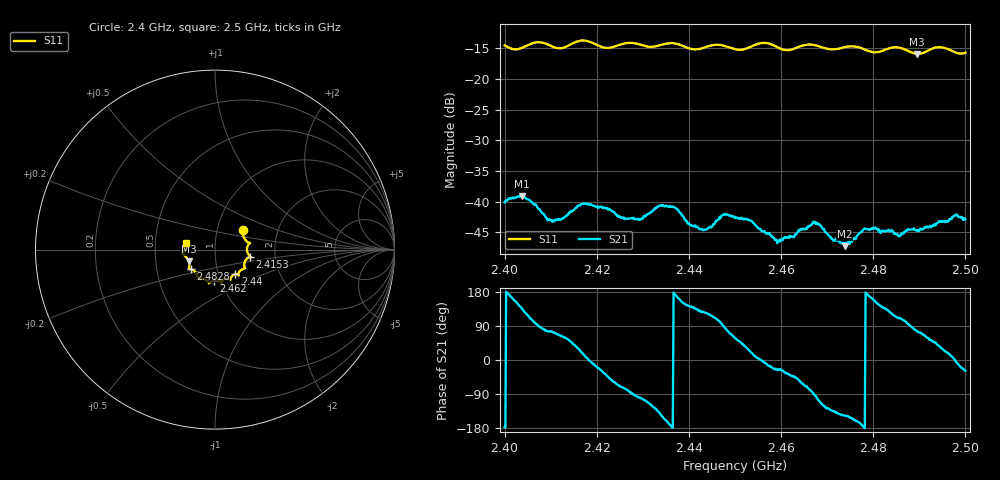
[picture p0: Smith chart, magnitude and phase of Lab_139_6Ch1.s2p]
# Hz S RI R 50
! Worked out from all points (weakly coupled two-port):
!   601 points, 2.4 GHz to 2.5 GHz, reference 50 ohm
!   highest |S21| = -39.07 dB at 2.4037 GHz (marker M1); lowest = -47.3 dB at 2.4738 GHz (marker M2)
!   lowest |S11| = -15.9 dB at 2.4895 GHz (marker M3), VSWR 1.38, Z = 37 - j5.01 ohm
!   |S11| at or under -10 dB: start of sweep to end of sweep
!   S12 and S22 are empty: the file has one direction only
!   S11 on the Smith chart (normalised r, x): 2.4 GHz: 1.33, +0.29; 2.4153 GHz: 1.48, -0.12; 2.44 GHz: 1.21, -0.34; 2.462 GHz: 0.93, -0.33; 2.4828 GHz: 0.74, -0.17; 2.5 GHz: 0.72, +0.06
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2.4e9  0.1553 0.1066  -0.00982 -0.000558  0 0  0 0
2.403667e9  0.1719 0.0508  -0.00821 0.0075  0 0  0 0
2.410333e9  0.1832 0.0223  0.00184 0.0066  0 0  0 0
2.415333e9  0.196 -0.0386  0.00695 0.00541  0 0  0 0
2.416667e9  0.2017 -0.0426  0.00894 0.00334  0 0  0 0
2.428833e9  0.1629 -0.1051  -0.000796 -0.00713  0 0  0 0
2.433333e9  0.131 -0.1337  -0.00656 -0.00629  0 0  0 0
2.437e9  0.1322 -0.1436  -0.0088 0.00118  0 0  0 0
2.44e9  0.1142 -0.1367  -0.00523 0.004  0 0  0 0
2.4435e9  0.0869 -0.1597  -0.00331 0.00484  0 0  0 0
2.4475e9  0.0832 -0.1681  0.000136 0.00782  0 0  0 0
2.45e9  0.0649 -0.1627  0.00387 0.0062  0 0  0 0
2.459e9  0.0307 -0.1809  0.00439 -0.00212  0 0  0 0
2.462e9  -0.00534 -0.1729  0.00404 -0.00335  0 0  0 0
2.466667e9  -0.0343 -0.1877  0.000792 -0.00641  0 0  0 0
2.473833e9  -0.0865 -0.1605  -0.00362 -0.00237  0 0  0 0
2.478167e9  -0.0993 -0.1431  -0.00604 -7.23e-06  0 0  0 0
2.482833e9  -0.1365 -0.1093  -0.00399 0.00419  0 0  0 0
2.483333e9  -0.1402 -0.109  -0.00369 0.00458  0 0  0 0
2.4895e9  -0.1461 -0.066  0.00141 0.00559  0 0  0 0
2.494333e9  -0.1808 -0.0219  0.00551 0.004  0 0  0 0
2.5e9  -0.1596 0.039  0.00631 -0.00339  0 0  0 0
